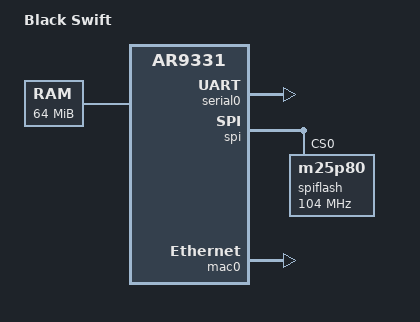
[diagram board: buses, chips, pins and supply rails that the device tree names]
/dts-v1/;

#include "ar9331.dtsi"

/ {
	model = "Black Swift";
	compatible = "smartlx,black-swift";

	memory {
		reg = <0x00000000 0x4000000>;
	};

	aliases {
		spiflash = &spiflash;
	};
};

&serial0 {
	status = "okay";
};

&spi {
	num-chipselects = <1>;
	status = "okay";

	/* Winbond W25Q128FV SPI flash */
	spiflash: m25p80@0 {
		#address-cells = <1>;
		#size-cells = <1>;
		compatible = "m25p80";
		spi-max-frequency = <104000000>;
		reg = <0>;

		boot@0 {
		       label = "barebox";
		       reg = <0x0 0x40000>;
		};
		boot@40000{
		       label = "parameter";
		       reg = <0x40000 0x40000>;
		};
		boot@80000 {
		       label = "kernel";
		       reg = <0x80000 0xf60000>;
		};
		boot@fe0000 {
		       label = "hwdata";
		       reg = <0xfe0000 0x10000>;
		};
		boot@ff0000 {
		       label = "ART";
		       reg = <0xff0000 0x10000>;
		};
	};
};

&mac0 {
	status = "okay";
};
